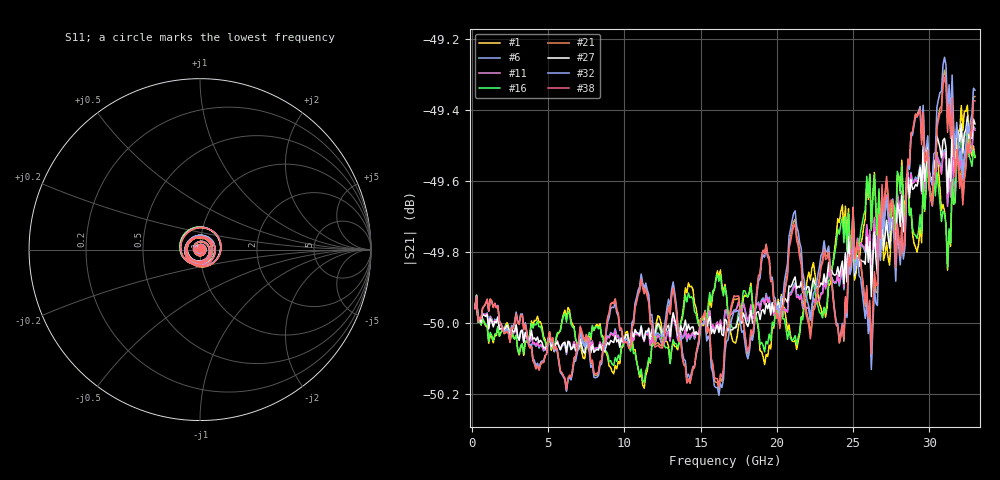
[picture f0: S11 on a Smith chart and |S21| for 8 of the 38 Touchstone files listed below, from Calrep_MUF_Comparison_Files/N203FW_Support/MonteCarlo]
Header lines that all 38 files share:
# GHZ S RI R 50
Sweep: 200 MHz to 33 GHz
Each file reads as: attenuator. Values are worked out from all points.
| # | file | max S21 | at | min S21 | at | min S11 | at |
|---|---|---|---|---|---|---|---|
| 1 | N203FW_3.s2p | -49.39 dB | 32.5 GHz | -50.2 dB | 11.3 GHz | -48.7 dB | 2.3 GHz |
| 2 | N203FW_4.s2p | -49.37 dB | 32.1 GHz | -50.2 dB | 11.3 GHz | -47.9 dB | 2.3 GHz |
| 3 | N203FW_5.s2p | -49.37 dB | 32.1 GHz | -50.2 dB | 11.3 GHz | -49.0 dB | 2.3 GHz |
| 4 | N203FW_7.s2p | -49.39 dB | 32.5 GHz | -50.2 dB | 11.3 GHz | -47.9 dB | 2.3 GHz |
| 5 | N203FW_10.s2p | -49.42 dB | 32.5 GHz | -50.1 dB | 7.4 GHz | -47.7 dB | 2.4 GHz |
| 6 | N203FW_12.s2p | -49.45 dB | 32.9 GHz | -50.1 dB | 6.2 GHz | -47.4 dB | 2.5 GHz |
| 7 | N203FW_14.s2p | -49.45 dB | 32.5 GHz | -50.2 dB | 11.3 GHz | -48.5 dB | 2.3 GHz |
| 8 | N203FW_16.s2p | -49.26 dB | 31 GHz | -50.2 dB | 16.2 GHz | -47.4 dB | 2.6 GHz |
| 9 | N203FW_20.s2p | -49.42 dB | 32.5 GHz | -50.1 dB | 7.4 GHz | -47.9 dB | 2.3 GHz |
| 10 | N203FW_21.s2p | -49.31 dB | 31 GHz | -50.2 dB | 6.2 GHz | -47.3 dB | 2.5 GHz |
| 11 | N203FW_22.s2p | -49.45 dB | 32.9 GHz | -50.1 dB | 6.2 GHz | -47.6 dB | 2.3 GHz |
| 12 | N203FW_23.s2p | -49.46 dB | 32.5 GHz | -50.2 dB | 11.3 GHz | -48.5 dB | 2.3 GHz |
| 13 | N203FW_24.s2p | -49.45 dB | 32.5 GHz | -50.2 dB | 11.3 GHz | -48.7 dB | 2.3 GHz |
| 14 | N203FW_26.s2p | -49.38 dB | 31 GHz | -50.2 dB | 6.2 GHz | -47.2 dB | 2.5 GHz |
| 15 | N203FW_31.s2p | -49.29 dB | 31 GHz | -50.2 dB | 6.2 GHz | -47.4 dB | 2.6 GHz |
| 16 | N203FW_33.s2p | -49.45 dB | 32.1 GHz | -50.2 dB | 11.3 GHz | -47.7 dB | 2.3 GHz |
| 17 | N203FW_34.s2p | -49.43 dB | 32.1 GHz | -50.2 dB | 11.3 GHz | -47.9 dB | 2.3 GHz |
| 18 | N203FW_36.s2p | -49.24 dB | 31 GHz | -50.2 dB | 16.2 GHz | -47.3 dB | 2.6 GHz |
| 19 | N203FW_37.s2p | -49.37 dB | 31.5 GHz | -50.1 dB | 6.2 GHz | -47.2 dB | 2.5 GHz |
| 20 | N203FW_40.s2p | -49.42 dB | 32.5 GHz | -50.1 dB | 7.4 GHz | -48.2 dB | 2.3 GHz |
| 21 | N203FW_41.s2p | -49.29 dB | 31 GHz | -50.2 dB | 6.2 GHz | -47.4 dB | 2.5 GHz |
| 22 | N203FW_42.s2p | -49.44 dB | 32.9 GHz | -50.1 dB | 6.2 GHz | -47.9 dB | 2.3 GHz |
| 23 | N203FW_43.s2p | -49.45 dB | 32.5 GHz | -50.2 dB | 11.3 GHz | -48.7 dB | 2.3 GHz |
| 24 | N203FW_45.s2p | -49.42 dB | 32.5 GHz | -50.1 dB | 6.2 GHz | -48.0 dB | 2.3 GHz |
| 25 | N203FW_46.s2p | -49.24 dB | 31 GHz | -50.2 dB | 16.2 GHz | -47.3 dB | 2.5 GHz |
| 26 | N203FW_47.s2p | -49.38 dB | 31.5 GHz | -50.1 dB | 6.2 GHz | -47.6 dB | 2.4 GHz |
| 27 | N203FW_50.s2p | -49.42 dB | 32.5 GHz | -50.1 dB | 7.4 GHz | -47.2 dB | 2.4 GHz |
| 28 | N203FW_51.s2p | -49.30 dB | 31 GHz | -50.2 dB | 6.2 GHz | -46.9 dB | 2.5 GHz |
| 29 | N203FW_52.s2p | -49.45 dB | 32.9 GHz | -50.1 dB | 6.2 GHz | -47.1 dB | 2.4 GHz |
| 30 | N203FW_53.s2p | -49.46 dB | 32.5 GHz | -50.2 dB | 11.3 GHz | -47.8 dB | 1.9 GHz |
| 31 | N203FW_55.s2p | -49.42 dB | 32.5 GHz | -50.1 dB | 6.2 GHz | -47.1 dB | 2.4 GHz |
| 32 | N203FW_56.s2p | -49.25 dB | 31 GHz | -50.2 dB | 16.2 GHz | -46.9 dB | 2.5 GHz |
| 33 | N203FW_57.s2p | -49.39 dB | 31.5 GHz | -50.1 dB | 6.2 GHz | -47.0 dB | 2.5 GHz |
| 34 | N203FW_60.s2p | -49.42 dB | 32.5 GHz | -50.1 dB | 7.4 GHz | -47.3 dB | 2.5 GHz |
| 35 | N203FW_65.s2p | -49.42 dB | 32.5 GHz | -50.1 dB | 6.2 GHz | -47.2 dB | 2.5 GHz |
| 36 | N203FW_67.s2p | -49.39 dB | 31 GHz | -50.1 dB | 6.2 GHz | -47.1 dB | 2.5 GHz |
| 37 | N203FW_70.s2p | -49.43 dB | 32.5 GHz | -50.1 dB | 7.4 GHz | -47.7 dB | 2.4 GHz |
| 38 | N203FW_71.s2p | -49.31 dB | 31 GHz | -50.2 dB | 6.2 GHz | -47.1 dB | 2.5 GHz |
